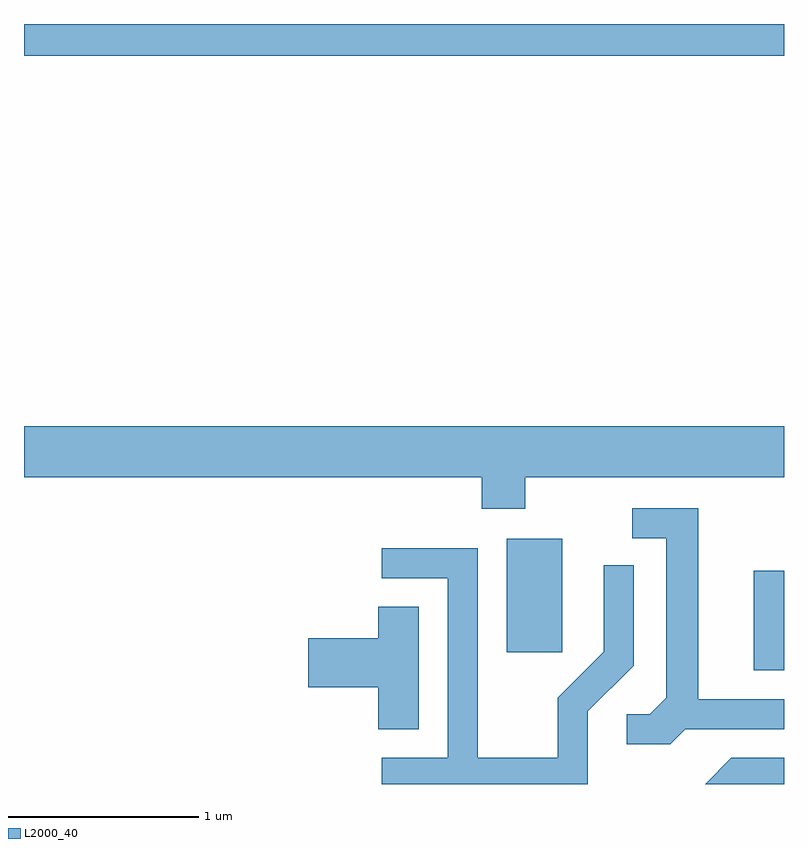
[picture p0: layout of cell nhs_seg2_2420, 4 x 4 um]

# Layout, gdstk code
import gdstk
lib = gdstk.Library(unit=1e-6, precision=1e-09)
def R(c, l, rs):  # rectangles x0, y0, x1, y1
    for r in rs: c.add(gdstk.rectangle(r[:2], r[2:], *l))
def P(c, l, *ps):  # polygons
    for p in ps: c.add(gdstk.Polygon(p, *l))
L2000_40 = (2000, 40)

nhs_seg2_2420 = lib.new_cell('nhs_seg2_2420')
R(nhs_seg2_2420, L2000_40, [(259.451,1058.401,259.611,1058.924), (258.151,1058.496,258.444,1059.094), (255.611,1061.636,259.611,1061.802)])
P(nhs_seg2_2420, L2000_40, [(258.249,1059.416),(259.611,1059.416),(259.611,1059.684),(255.611,1059.684),(255.611,1059.416),(258.021,1059.416),(258.021,1059.251),(258.249,1059.251)],
  [(259.092,1058.091),(259.611,1058.091),(259.611,1058.249),(259.159,1058.249),(259.159,1059.254),(258.813,1059.254),(258.813,1059.096),(258.991,1059.096),(258.991,1058.257),(258.904,1058.169),(258.783,1058.169),(258.783,1058.011),(259.012,1058.011)],
  [(258.579,1058.184),(258.819,1058.424),(258.819,1058.953),(258.661,1058.953),(258.661,1058.497),(258.421,1058.257),(258.421,1057.939),(257.999,1057.939),(257.999,1059.044),(257.493,1059.044),(257.493,1058.886),(257.841,1058.886),(257.841,1057.939),(257.493,1057.939),(257.493,1057.802),(258.579,1057.802)],
  [(257.689,1058.734),(257.476,1058.734),(257.476,1058.569),(257.106,1058.569),(257.106,1058.311),(257.476,1058.311),(257.476,1058.091),(257.689,1058.091)],
  [(259.611,1057.939),(259.334,1057.939),(259.196,1057.802),(259.611,1057.802)])

lib.write_gds('nhs_seg2_2420.gds')
